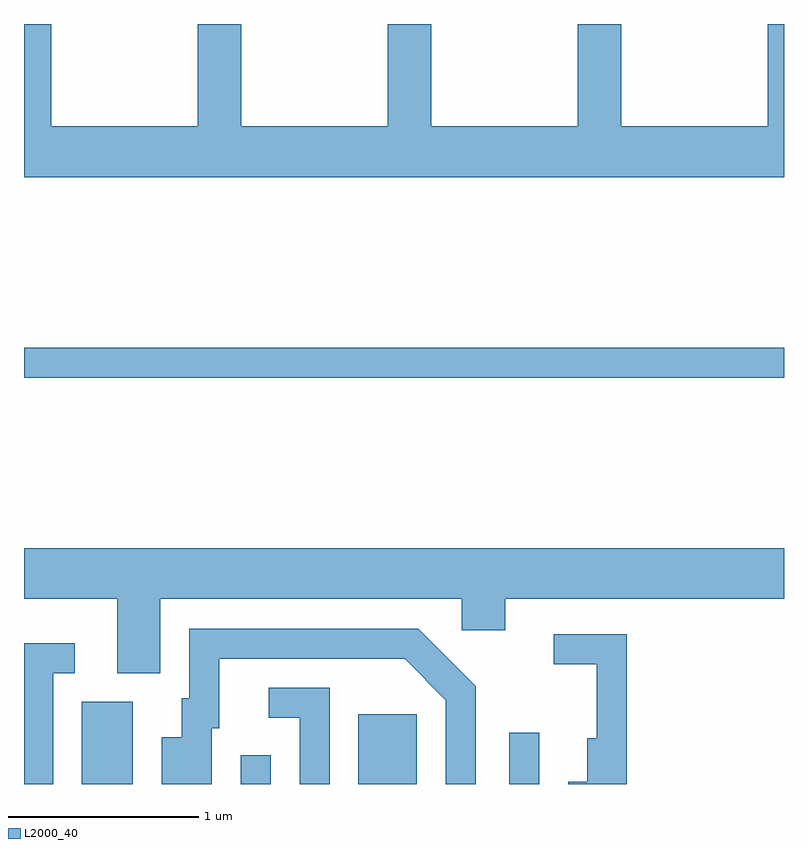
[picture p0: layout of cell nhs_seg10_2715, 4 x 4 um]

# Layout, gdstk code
import gdstk
lib = gdstk.Library(unit=1e-6, precision=1e-09)
def R(c, l, rs):  # rectangles x0, y0, x1, y1
    for r in rs: c.add(gdstk.rectangle(r[:2], r[2:], *l))
def P(c, l, *ps):  # polygons
    for p in ps: c.add(gdstk.Polygon(p, *l))
L2000_40 = (2000, 40)

nhs_seg10_2715 = lib.new_cell('nhs_seg10_2715')
R(nhs_seg10_2715, L2000_40, [(265.916,2088.522,266.184,2088.954), (266.751,2088.522,266.909,2088.673), (267.371,2088.522,267.679,2088.889), (268.166,2088.522,268.324,2088.793), (265.611,2090.661,269.611,2090.819)])
P(nhs_seg10_2715, L2000_40, [(269.611,2092.522),(269.526,2092.522),(269.526,2091.984),(268.754,2091.984),(268.754,2092.522),(268.526,2092.522),(268.526,2091.984),(267.754,2091.984),(267.754,2092.522),(267.526,2092.522),(267.526,2091.984),(266.754,2091.984),(266.754,2092.522),(266.526,2092.522),(266.526,2091.984),(265.754,2091.984),(265.754,2092.522),(265.611,2092.522),(265.611,2091.716),(269.611,2091.716)],
  [(266.329,2089.496),(267.916,2089.496),(267.916,2089.331),(268.144,2089.331),(268.144,2089.496),(269.611,2089.496),(269.611,2089.764),(265.611,2089.764),(265.611,2089.496),(266.101,2089.496),(266.101,2089.106),(266.329,2089.106)],
  [(266.599,2088.816),(266.639,2088.816),(266.639,2089.181),(267.614,2089.181),(267.831,2088.963),(267.831,2088.522),(267.989,2088.522),(267.989,2089.037),(267.687,2089.339),(266.481,2089.339),(266.481,2088.974),(266.441,2088.974),(266.441,2088.769),(266.336,2088.769),(266.336,2088.522),(266.599,2088.522)],
  [(268.784,2089.309),(268.398,2089.309),(268.398,2089.151),(268.626,2089.151),(268.626,2088.764),(268.576,2088.764),(268.576,2088.534),(268.476,2088.534),(268.476,2088.522),(268.784,2088.522)],
  [(265.764,2089.106),(265.878,2089.106),(265.878,2089.264),(265.611,2089.264),(265.611,2088.522),(265.764,2088.522)],
  [(267.219,2089.029),(266.898,2089.029),(266.898,2088.871),(267.061,2088.871),(267.061,2088.522),(267.219,2088.522)])

lib.write_gds('nhs_seg10_2715.gds')
